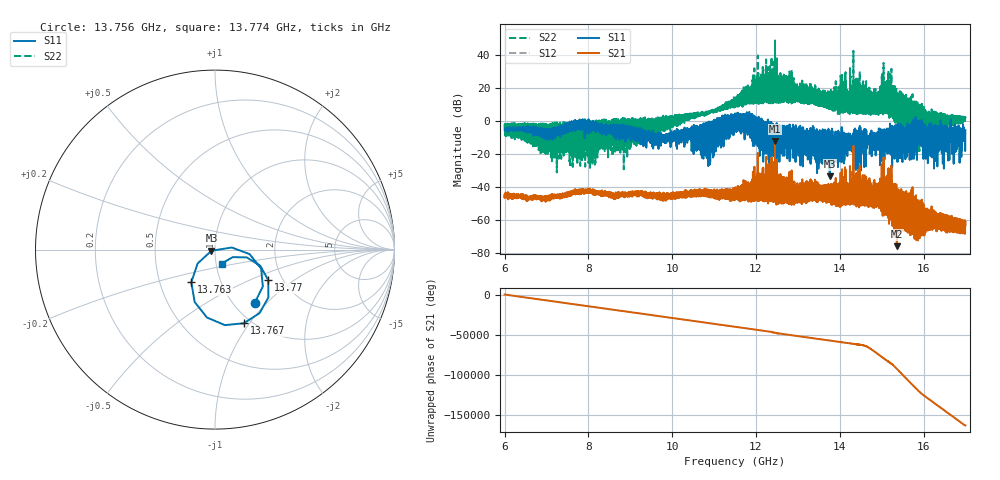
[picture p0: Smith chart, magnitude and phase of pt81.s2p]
#  HZ  S  RI  R  50.00
! Rohde & Schwarz Vector Network Analyzer
! Rohde-Schwarz,ZNA67-2Port,1332450062101215,3.01
! Created: UTC 10/19/2026, 9:52:21 AM
! freq[Hz]  re:S11  im:S11  re:S21  im:S21  re:S12  im:S12  re:S22  im:S22
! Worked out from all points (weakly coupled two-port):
!   11001 points, 6 GHz to 17 GHz, reference 50 ohm
!   highest |S21| = -12.31 dB at 12.455 GHz (marker M1); lowest = -76.1 dB at 15.365 GHz (marker M2)
!   lowest |S11| = -33.7 dB at 13.761 GHz (marker M3), VSWR 1.04, Z = 48.1 - j0.612 ohm
!   |S11| at or under -10 dB: 13.91033 GHz to 13.94901 GHz (38.68 MHz wide, 0.278 % of centre); 14.17702 GHz to 14.20681 GHz (29.79 MHz wide, 0.21 % of centre); 14.27829 GHz to 14.31677 GHz (38.47 MHz wide, 0.269 % of centre) (the widest 3 of 570)
!   |S22| runs from -31.4 to 48.6 dB; largest |S21 - S12| = 0.0098
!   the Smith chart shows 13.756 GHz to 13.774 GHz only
!   S11 on the Smith chart (normalised r, x): 13.756 GHz: 1.25, -0.85; 13.763 GHz: 0.72, -0.28; 13.767 GHz: 0.92, -0.94; 13.77 GHz: 1.69, -0.65; 13.774 GHz: 1.06, -0.17
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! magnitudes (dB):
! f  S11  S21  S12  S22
! 6 GHz  -5.6  -45.5  -45.5  -4.9
! 7.09 GHz  -5.8  -45.5  -45.4  -3.4
! 7.834 GHz  -3.0  -42.5  -42.3  -1.2
! 9.667 GHz  -7.2  -44.8  -45.0  1.6
! 10.738 GHz  -2.4  -44.3  -44.3  3.9
! 11.5 GHz  4.2  -45.6  -45.4  10.2
! 11.799 GHz  -8.7  -38.1  -38.1  21.1
! 12.455 GHz  -14.9  -12.3  -12.2  48.6
! 13.334 GHz  -11.8  -45.2  -45.2  13.2
! 13.756 GHz  -8.6  -49.2  -49.0  7.5
! 13.761 GHz  -33.7  -43.0  -43.0  12.5
! 13.763 GHz  -13.0  -47.5  -47.6  7.4
! 13.767 GHz  -7.1  -48.7  -48.5  7.4
! 13.77 GHz  -9.3  -46.0  -45.6  8.9
! 13.774 GHz  -21.3  -48.7  -48.7  7.0
! 14.15 GHz  -18.6  -45.6  -45.6  12.0
! 15.167 GHz  -11.9  -52.4  -52.1  6.8
! 15.365 GHz  -19.7  -76.1  -76.0  -0.2
! 15.677 GHz  -3.1  -51.5  -51.4  7.0
! 15.785 GHz  -10.4  -58.6  -58.6  1.9
! 16.051 GHz  -6.8  -55.5  -55.2  4.2
! 17 GHz  -5.8  -63.2  -63.3  1.6
